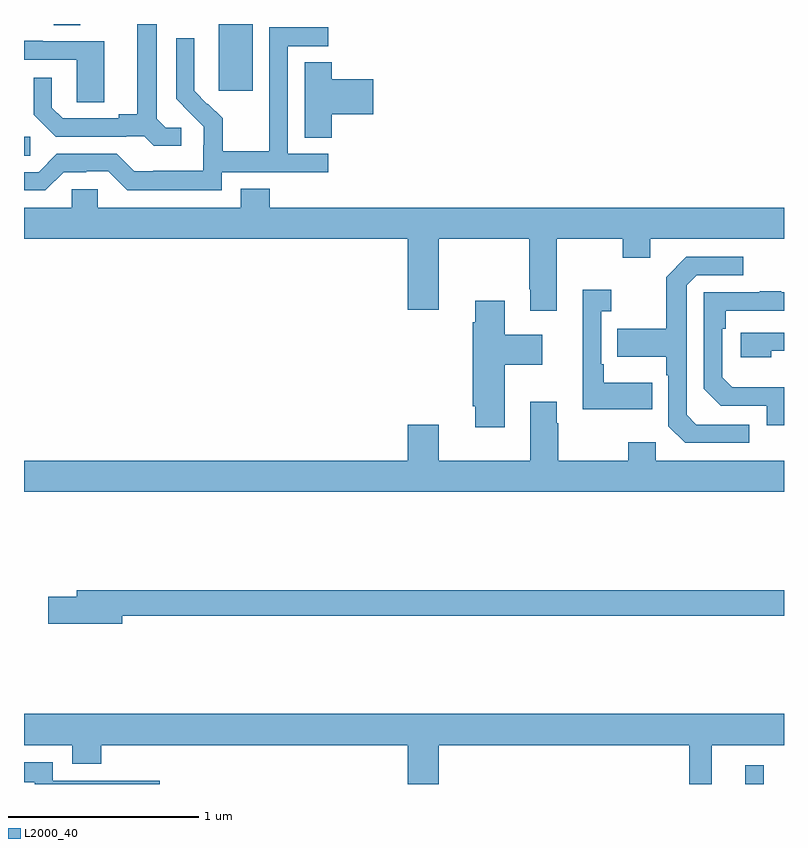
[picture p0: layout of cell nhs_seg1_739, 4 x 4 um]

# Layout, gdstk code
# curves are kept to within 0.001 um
import gdstk
lib = gdstk.Library(unit=1e-6, precision=1e-09)
def R(c, l, rs):  # rectangles x0, y0, x1, y1
    for r in rs: c.add(gdstk.rectangle(r[:2], r[2:], *l))
def P(c, l, *ps):  # polygons
    for p in ps: c.add(gdstk.Polygon(p, *l))
L2000_40 = (2000, 40)

nhs_seg1_739 = lib.new_cell('nhs_seg1_739')
R(nhs_seg1_739, L2000_40, [(154.796,546.199,154.894,546.298), (151,549.505,151.033,549.606), (152.024,549.849,152.203,550.199), (151.157,550.192,151.297,550.199)])
P(nhs_seg1_739, L2000_40, [(151.828,549.654),(151.746,549.654),(151.699,549.701),(151.699,550.199),(151.595,550.199),(151.595,549.725),(151.499,549.725),(151.499,549.702),(151.204,549.702),(151.147,549.759),(151.147,549.916),(151.05,549.916),(151.05,549.722),(151.166,549.606),(151.538,549.606),(151.538,549.609),(151.632,549.609),(151.684,549.557),(151.828,549.557)],
  [(152.04,549.42),(152.602,549.42),(152.602,549.516),(152.388,549.516),(152.388,550.083),(152.602,550.083),(152.602,550.182),(152.292,550.182),(152.292,549.752),(152.29,549.752),(152.29,549.529),(152.045,549.529),(152.045,549.703),(151.968,549.78),(151.965,549.777),(151.895,549.848),(151.896,550.124),(151.8,550.124),(151.8,549.806),(151.946,549.658),(151.946,549.561),(151.944,549.561),(151.944,549.427),(151.681,549.427),(151.681,549.423),(151.581,549.423),(151.488,549.516),(151.173,549.516),(151.077,549.42),(151,549.42),(151,549.324),(151.113,549.324),(151.209,549.42),(151.328,549.42),(151.328,549.423),(151.443,549.423),(151.543,549.323),(152.04,549.323)],
  [(151.423,550.107),(151.099,550.107),(151.099,550.111),(151,550.111),(151,550.011),(151.278,550.011),(151.278,549.787),(151.423,549.787)],
  [(152.621,549.725),(152.839,549.725),(152.839,549.908),(152.621,549.908),(152.621,549.998),(152.477,549.998),(152.477,549.601),(152.621,549.601)],
  [(153.805,549.068),(154.15,549.068),(154.15,548.969),(154.297,548.969),(154.297,549.068),(155,549.068),(155,549.232),(152.294,549.232),(152.294,549.331),(152.141,549.331),(152.141,549.232),(151.389,549.232),(151.389,549.33),(151.251,549.33),(151.251,549.232),(151,549.232),(151,549.068),(153.02,549.068),(153.02,548.694),(153.184,548.694),(153.184,549.068),(153.658,549.068),(153.658,548.803),(153.665,548.803),(153.665,548.691),(153.805,548.691)],
  [(154.816,548.091),(154.539,548.091),(154.488,548.142),(154.488,548.823),(154.542,548.877),(154.786,548.877),(154.786,548.973),(154.485,548.973),(154.38,548.867),(154.38,548.595),(154.123,548.595),(154.123,548.447),(154.38,548.447),(154.38,548.351),(154.392,548.351),(154.392,548.082),(154.479,547.995),(154.816,547.995)],
  [(154.307,548.311),(154.051,548.311),(154.051,548.407),(154.038,548.407),(154.038,548.687),(154.09,548.687),(154.09,548.8),(153.941,548.8),(153.941,548.171),(154.307,548.171)],
  [(155,548.287),(154.727,548.287),(154.674,548.34),(154.674,548.594),(154.694,548.594),(154.694,548.691),(155,548.691),(155,548.787),(154.985,548.787),(154.985,548.792),(154.873,548.792),(154.873,548.787),(154.578,548.787),(154.578,548.28),(154.668,548.19),(154.908,548.19),(154.908,548.088),(155,548.088)],
  [(153.529,548.405),(153.727,548.405),(153.727,548.563),(153.529,548.563),(153.529,548.743),(153.374,548.743),(153.374,548.63),(153.362,548.63),(153.362,548.188),(153.374,548.188),(153.374,548.076),(153.529,548.076)],
  [(154.934,548.478),(155,548.478),(155,548.574),(154.773,548.574),(154.773,548.444),(154.934,548.444)],
  [(155,547.9),(154.326,547.9),(154.326,547.999),(154.18,547.999),(154.18,547.9),(153.813,547.9),(153.813,548.099),(153.805,548.099),(153.805,548.212),(153.665,548.212),(153.665,547.9),(153.184,547.9),(153.184,548.089),(153.02,548.089),(153.02,547.9),(151,547.9),(151,547.736),(155,547.736)],
  [(151.516,547.084),(155,547.084),(155,547.22),(151.277,547.22),(151.277,547.184),(151.128,547.184),(151.128,547.042),(151.516,547.042)],
  [(153.184,546.404),(154.5,546.404),(154.5,546.199),(154.621,546.199),(154.621,546.404),(155,546.404),(155,546.568),(151,546.568),(151,546.404),(151.253,546.404),(151.253,546.305),(151.406,546.305),(151.406,546.404),(153.02,546.404),(153.02,546.199),(153.184,546.199)],
  [(151.714,546.216),(151.152,546.216),(151.152,546.313),(151,546.313),(151,546.209),(151.056,546.209),(151.056,546.199),(151.714,546.199)])

lib.write_gds('nhs_seg1_739.gds')
